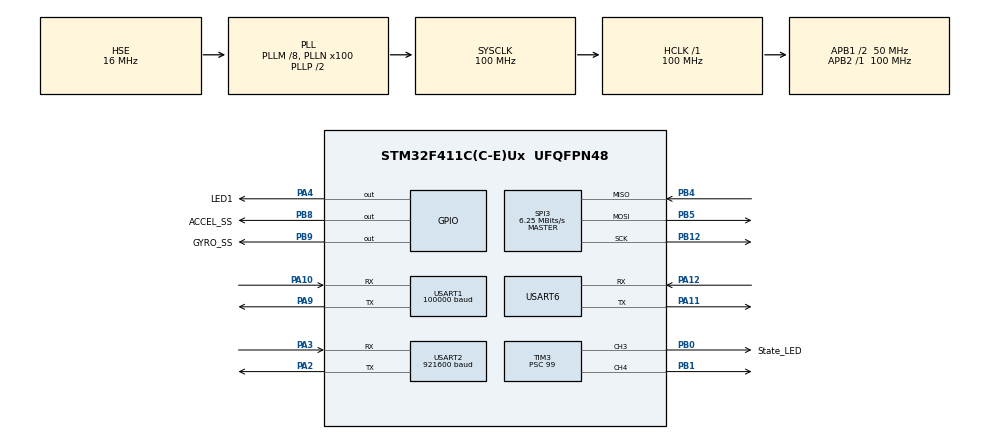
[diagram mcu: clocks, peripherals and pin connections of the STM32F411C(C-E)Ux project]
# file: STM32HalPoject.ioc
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Dma.Request0=USART2_TX
Dma.Request1=USART2_RX
Dma.Request2=USART1_RX
Dma.Request3=USART1_TX
Dma.USART1_RX.2.Direction=DMA_PERIPH_TO_MEMORY
Dma.USART1_RX.2.FIFOMode=DMA_FIFOMODE_DISABLE
Dma.USART1_RX.2.Instance=DMA2_Stream2
Dma.USART1_RX.2.MemDataAlignment=DMA_MDATAALIGN_BYTE
Dma.USART1_RX.2.MemInc=DMA_MINC_ENABLE
Dma.USART1_RX.2.Mode=DMA_NORMAL
Dma.USART1_RX.2.PeriphDataAlignment=DMA_PDATAALIGN_BYTE
Dma.USART1_RX.2.PeriphInc=DMA_PINC_DISABLE
Dma.USART1_RX.2.Priority=DMA_PRIORITY_LOW
Dma.USART1_TX.3.Direction=DMA_MEMORY_TO_PERIPH
Dma.USART1_TX.3.FIFOMode=DMA_FIFOMODE_DISABLE
Dma.USART1_TX.3.Instance=DMA2_Stream7
Dma.USART1_TX.3.MemDataAlignment=DMA_MDATAALIGN_BYTE
Dma.USART1_TX.3.MemInc=DMA_MINC_ENABLE
Dma.USART1_TX.3.Mode=DMA_NORMAL
Dma.USART1_TX.3.PeriphDataAlignment=DMA_PDATAALIGN_BYTE
Dma.USART1_TX.3.PeriphInc=DMA_PINC_DISABLE
Dma.USART1_TX.3.Priority=DMA_PRIORITY_LOW
Dma.USART2_RX.1.Direction=DMA_PERIPH_TO_MEMORY
Dma.USART2_RX.1.FIFOMode=DMA_FIFOMODE_DISABLE
Dma.USART2_RX.1.Instance=DMA1_Stream5
Dma.USART2_RX.1.MemDataAlignment=DMA_MDATAALIGN_BYTE
Dma.USART2_RX.1.MemInc=DMA_MINC_ENABLE
Dma.USART2_RX.1.Mode=DMA_NORMAL
Dma.USART2_RX.1.PeriphDataAlignment=DMA_PDATAALIGN_BYTE
Dma.USART2_RX.1.PeriphInc=DMA_PINC_DISABLE
Dma.USART2_RX.1.Priority=DMA_PRIORITY_LOW
Dma.USART2_TX.0.Direction=DMA_MEMORY_TO_PERIPH
Dma.USART2_TX.0.FIFOMode=DMA_FIFOMODE_DISABLE
Dma.USART2_TX.0.Instance=DMA1_Stream6
Dma.USART2_TX.0.MemDataAlignment=DMA_MDATAALIGN_BYTE
Dma.USART2_TX.0.MemInc=DMA_MINC_ENABLE
Dma.USART2_TX.0.Mode=DMA_NORMAL
Dma.USART2_TX.0.PeriphDataAlignment=DMA_PDATAALIGN_BYTE
Dma.USART2_TX.0.PeriphInc=DMA_PINC_DISABLE
Dma.USART2_TX.0.Priority=DMA_PRIORITY_LOW
Mcu.Family=STM32F4
Mcu.Name=STM32F411C(C-E)Ux
Mcu.Package=UFQFPN48
NVIC.DMA1_Stream5_IRQn=true\:0\:0\:false\:false\:true\:false\:true\:true
NVIC.DMA1_Stream6_IRQn=true\:0\:0\:false\:false\:true\:false\:true\:true
NVIC.DMA2_Stream2_IRQn=true\:0\:0\:false\:false\:true\:false\:true\:true
NVIC.DMA2_Stream7_IRQn=true\:0\:0\:false\:false\:true\:false\:true\:true
NVIC.PriorityGroup=NVIC_PRIORITYGROUP_4
NVIC.TIM1_UP_TIM10_IRQn=true\:0\:0\:false\:false\:true\:true\:true\:true
NVIC.USART1_IRQn=true\:0\:0\:false\:false\:true\:true\:true\:true
NVIC.USART2_IRQn=true\:0\:0\:false\:false\:true\:true\:true\:true
NVIC.USART6_IRQn=true\:0\:0\:false\:false\:true\:true\:true\:true
PA10.Mode=Asynchronous
PA10.Signal=USART1_RX
PA11.Mode=Asynchronous
PA11.Signal=USART6_TX
PA12.Mode=Asynchronous
PA12.Signal=USART6_RX
PA13.Mode=Serial_Wire
PA13.Signal=SYS_JTMS-SWDIO
PA14.Mode=Serial_Wire
PA14.Signal=SYS_JTCK-SWCLK
PA2.Mode=Asynchronous
PA2.Signal=USART2_TX
PA3.Mode=Asynchronous
PA3.Signal=USART2_RX
PA4.GPIO_Label=LED1
PA4.GPIO_PuPd=GPIO_PULLUP
PA4.Signal=GPIO_Output
PA9.Mode=Asynchronous
PA9.Signal=USART1_TX
PB0.GPIO_Label=State_LED
PB0.Signal=S_TIM3_CH3
PB1.GPIO_ModeDefaultPP=GPIO_MODE_AF_PP
PB1.GPIO_Speed=GPIO_SPEED_FREQ_LOW
PB1.Signal=S_TIM3_CH4
PB12.Mode=Full_Duplex_Master
PB12.Signal=SPI3_SCK
PB4.Mode=Full_Duplex_Master
PB4.Signal=SPI3_MISO
PB5.Mode=Full_Duplex_Master
PB5.Signal=SPI3_MOSI
PB8.GPIO_Label=ACCEL_SS
PB8.GPIO_Speed=GPIO_SPEED_FREQ_HIGH
PB8.PinState=GPIO_PIN_SET
PB8.Signal=GPIO_Output
PB9.GPIO_Label=GYRO_SS
PB9.GPIO_PuPd=GPIO_NOPULL
PB9.GPIO_Speed=GPIO_SPEED_FREQ_HIGH
PB9.PinState=GPIO_PIN_SET
PB9.Signal=GPIO_Output
PH0\ -\ OSC_IN.Mode=HSE-External-Oscillator
PH0\ -\ OSC_IN.Signal=RCC_OSC_IN
PH1\ -\ OSC_OUT.Mode=HSE-External-Oscillator
PH1\ -\ OSC_OUT.Signal=RCC_OSC_OUT
ProjectManager.HeapSize=0x2000
ProjectManager.StackSize=0x1000
ProjectManager.TargetToolchain=MDK-ARM V5.32
RCC.48MHZClocksFreq_Value=50000000
RCC.AHBFreq_Value=100000000
RCC.APB1CLKDivider=RCC_HCLK_DIV2
RCC.APB1Freq_Value=50000000
RCC.APB1TimFreq_Value=100000000
RCC.APB2Freq_Value=100000000
RCC.APB2TimFreq_Value=100000000
RCC.CortexFreq_Value=100000000
RCC.HCLKFreq_Value=100000000
RCC.HSE_VALUE=16000000
RCC.HSI_VALUE=16000000
RCC.LSE_VALUE=32768
RCC.PLLM=8
RCC.PLLN=100
RCC.PLLSourceVirtual=RCC_PLLSOURCE_HSE
RCC.SYSCLKFreq_VALUE=100000000
RCC.SYSCLKSource=RCC_SYSCLKSOURCE_PLLCLK
RCC.VCOOutputFreq_Value=200000000
SH.S_TIM3_CH3.0=TIM3_CH3,PWM Generation3 CH3
SH.S_TIM3_CH4.0=TIM3_CH4,PWM Generation4 CH4
SPI3.BaudRatePrescaler=SPI_BAUDRATEPRESCALER_8
SPI3.CLKPhase=SPI_PHASE_1EDGE
SPI3.CLKPolarity=SPI_POLARITY_LOW
SPI3.CalculateBaudRate=6.25 MBits/s
SPI3.DataSize=SPI_DATASIZE_16BIT
SPI3.Direction=SPI_DIRECTION_2LINES
SPI3.FirstBit=SPI_FIRSTBIT_MSB
SPI3.Mode=SPI_MODE_MASTER
SPI3.VirtualType=VM_MASTER
TIM1.Period=999
TIM1.Prescaler=99
TIM10.AutoReloadPreload=TIM_AUTORELOAD_PRELOAD_ENABLE
TIM10.Period=999
TIM10.Prescaler=99
TIM3.Channel-PWM\ Generation3\ CH3=TIM_CHANNEL_3
TIM3.Channel-PWM\ Generation4\ CH4=TIM_CHANNEL_4
TIM3.Period=999
TIM3.Prescaler=99
USART1.BaudRate=100000
USART1.Parity=PARITY_EVEN
USART1.VirtualMode=VM_ASYNC
USART1.WordLength=WORDLENGTH_9B
USART2.BaudRate=921600
USART2.VirtualMode=VM_ASYNC
USART6.VirtualMode=VM_ASYNC
VP_TIM10_VS_ClockSourceINT.Mode=Enable_Timer
VP_TIM1_VS_ClockSourceINT.Mode=Internal
board=custom

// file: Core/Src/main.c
/* USER CODE BEGIN Header */
/**
 ******************************************************************************
 * @file           : main.c
 * @brief          : Main program body
 ******************************************************************************
 * @attention
 *
 * Copyright (c) 2024 STMicroelectronics.
 * All rights reserved.
 *
 * This software is licensed under terms that can be found in the LICENSE file
 * in the root directory of this software component.
 * If no LICENSE file comes with this software, it is provided AS-IS.
 *
 ******************************************************************************
 */
/* USER CODE END Header */
#include "main.h"
#include "dma.h"
#include "spi.h"
#include "tim.h"
#include "usart.h"
#include "gpio.h"

/* USER CODE BEGIN Includes */
#include "stdio.h"
#include <stdarg.h>
#include "bsp_spi.h"
#include "bsp_iic.h"
#include "bsp_uart.h"
#include "bsp_can.h"
#include "bsp_delay.h"
#include "bsp_bmi088.h"
// #include "bsp_ist8310.h"
#include "Filter.h"
#include "Calibration.h"
#include "Status_Task.h"
#include "IMU_AHRSupdate.h"
#include "KalmanFilter.h"
#include "Comm_task.h"
#include "bsp_flash.h"
#include "bsp_dwt.h"
#include "bsp_imu.h"
#include "QuaternionEKF.h"
#include "bsp_remote_ET08.h"

/* USER CODE END Includes */

void SystemClock_Config(void);

/* USER CODE BEGIN 0 */
int fputc(int ch, FILE *f)
{
    HAL_UART_Transmit(&huart2, (uint8_t *)&ch, 1, 0xffff);
    return ch;
}

// extern void Uart2Printf(const char* format, ...);
/* USER CODE END 0 */

int main(void)
{

    /* MCU Configuration--------------------------------------------------------*/

    /* Reset of all peripherals, Initializes the Flash interface and the Systick. */
    HAL_Init();

    /* Configure the system clock */
    SystemClock_Config();

    /* Initialize all configured peripherals */
    MX_GPIO_Init();
    MX_DMA_Init();
    MX_TIM3_Init();
    MX_SPI3_Init();
    MX_USART2_UART_Init();
    MX_USART6_UART_Init();
    MX_TIM10_Init();
    MX_USART1_UART_Init();
    MX_TIM1_Init();
    /* USER CODE BEGIN 2 */
    Data_Not_Ready();
    DWT_Init(100);
    BMI088_Init();
    Butterworth_Parameter_Init();
    Kalman_init();
    BMI088_Calibration_Read();
    BMI088_original_data_read();
    BMI088_temp_data_read();
    BMI088_Filter();
    HAL_TIM_Base_Start_IT(&htim3);
    HAL_TIM_Base_Start_IT(&htim1);
    HAL_TIM_Base_Start_IT(&htim10);
    Data_Ready();
    // HAL_UART_Receive_DMA(&huart1, SBUS_RXBuffer, 25); //
     /* USER CODE END 2 */
    /* Infinite loop */
    while (1)
    {
        /* USER CODE BEGIN 3 */
        SendSBUSDataViaDMA();
    }
    /* USER CODE END 3 */
}

void SystemClock_Config(void)
{
    RCC_OscInitTypeDef RCC_OscInitStruct = {0};
    RCC_ClkInitTypeDef RCC_ClkInitStruct = {0};

    /** Configure the main internal regulator output voltage
     */
    __HAL_RCC_PWR_CLK_ENABLE();
    __HAL_PWR_VOLTAGESCALING_CONFIG(PWR_REGULATOR_VOLTAGE_SCALE1);

    /** Initializes the RCC Oscillators according to the specified parameters
     * in the RCC_OscInitTypeDef structure.
     */
    RCC_OscInitStruct.OscillatorType = RCC_OSCILLATORTYPE_HSE;
    RCC_OscInitStruct.HSEState = RCC_HSE_ON;
    RCC_OscInitStruct.PLL.PLLState = RCC_PLL_ON;
    RCC_OscInitStruct.PLL.PLLSource = RCC_PLLSOURCE_HSE;
    RCC_OscInitStruct.PLL.PLLM = 8;
    RCC_OscInitStruct.PLL.PLLN = 100;
    RCC_OscInitStruct.PLL.PLLP = RCC_PLLP_DIV2;
    RCC_OscInitStruct.PLL.PLLQ = 4;
    if (HAL_RCC_OscConfig(&RCC_OscInitStruct) != HAL_OK)
    {
        Error_Handler();
    }

    /** Initializes the CPU, AHB and APB buses clocks
     */
    RCC_ClkInitStruct.ClockType = RCC_CLOCKTYPE_HCLK | RCC_CLOCKTYPE_SYSCLK | RCC_CLOCKTYPE_PCLK1 | RCC_CLOCKTYPE_PCLK2;
    RCC_ClkInitStruct.SYSCLKSource = RCC_SYSCLKSOURCE_PLLCLK;
    RCC_ClkInitStruct.AHBCLKDivider = RCC_SYSCLK_DIV1;
    RCC_ClkInitStruct.APB1CLKDivider = RCC_HCLK_DIV2;
    RCC_ClkInitStruct.APB2CLKDivider = RCC_HCLK_DIV1;

    if (HAL_RCC_ClockConfig(&RCC_ClkInitStruct, FLASH_LATENCY_3) != HAL_OK)
    {
        Error_Handler();
    }
}

/* USER CODE BEGIN 4 */
void HAL_TIM_PeriodElapsedCallback(TIM_HandleTypeDef *htim)
{
    /* USER CODE BEGIN Callback 0 */

    /* USER CODE BEGIN Callback 1 */
    if (htim->Instance == TIM1)
    {
        status_task(); // 呼吸灯
        IMU_AHRSupdate_task(); // 陀螺仪处理
        Sbus_Task(); //遥控器接收机
        timestamp++;
    }
    /* USER CODE END Callback 1 */
}

void HAL_UART_TxCpltCallback(UART_HandleTypeDef *huart)
{
    if (huart->Instance == USART2)
    {
        dma_busy = 0;
    }
}

void HAL_UART_ErrorCallback(UART_HandleTypeDef *huart)
{
    if (huart->Instance == USART2)
    {
        dma_busy = 0; // 重置标志位，允许后续操作
    }
}

void HAL_UART_RxCpltCallback(UART_HandleTypeDef *huart)
{
    if (huart->Instance == USART1) // 确保是USART1的回调
    {
        sbus_callback_handler(&sbus_buffer, SBUS_RXBuffer); // 调用解算函数处理数据
        HAL_UART_Receive_DMA(&huart1, SBUS_RXBuffer, 25);   // 再次启动
    }
}

/* USER CODE END 4 */

void Error_Handler(void)
{
    __disable_irq();
    while (1)
    {
    }
}
